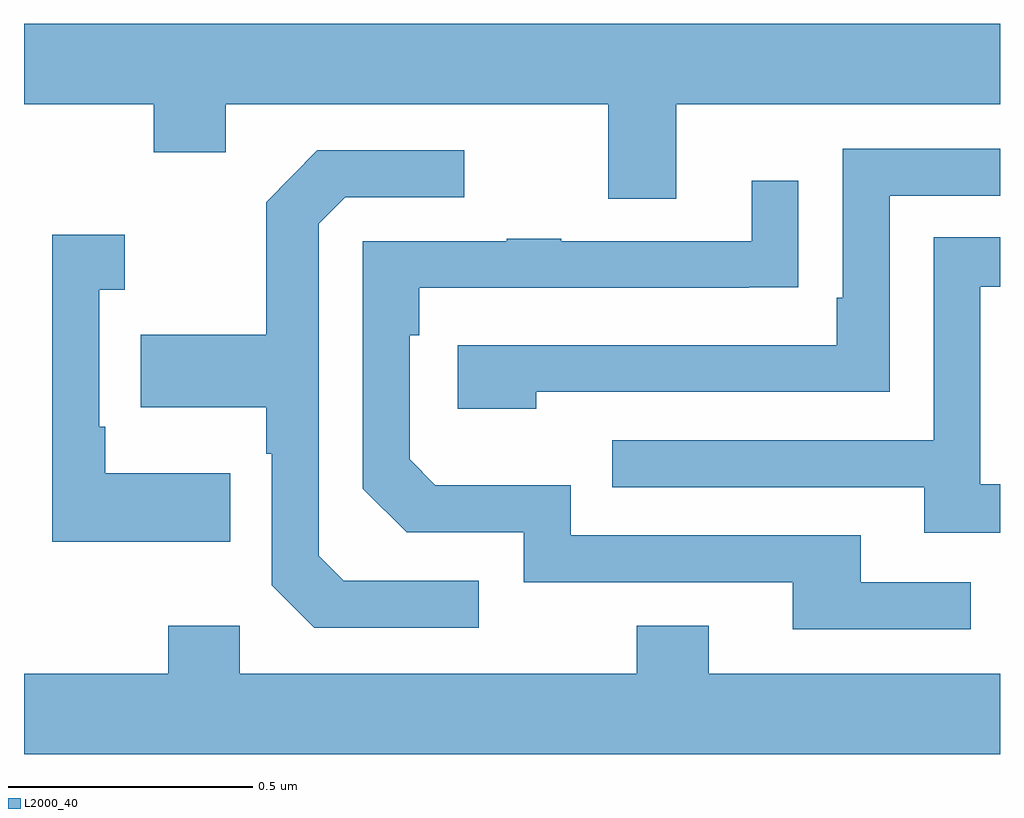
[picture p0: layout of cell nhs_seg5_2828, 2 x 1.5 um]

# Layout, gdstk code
import gdstk
lib = gdstk.Library(unit=1e-6, precision=1e-09)
def P(c, l, *ps):  # polygons
    for p in ps: c.add(gdstk.Polygon(p, *l))
L2000_40 = (2000, 40)

nhs_seg5_2828 = lib.new_cell('nhs_seg5_2828')
P(nhs_seg5_2828, L2000_40, [(150.337,863.42),(151,863.42),(151,863.584),(149,863.584),(149,863.42),(149.266,863.42),(149.266,863.321),(149.413,863.321),(149.413,863.42),(150.197,863.42),(150.197,863.226),(150.337,863.226)],
  [(150.05,862.83),(150.774,862.83),(150.774,863.232),(151,863.232),(151,863.328),(150.678,863.328),(150.678,863.023),(150.665,863.023),(150.665,862.926),(149.889,862.926),(149.889,862.796),(150.05,862.796)],
  [(149.932,862.443),(149.655,862.443),(149.604,862.494),(149.604,863.175),(149.658,863.229),(149.902,863.229),(149.902,863.325),(149.601,863.325),(149.496,863.219),(149.496,862.947),(149.239,862.947),(149.239,862.799),(149.496,862.799),(149.496,862.703),(149.508,862.703),(149.508,862.434),(149.595,862.347),(149.932,862.347)],
  [(150.94,862.44),(150.715,862.44),(150.715,862.536),(150.12,862.536),(150.12,862.639),(149.843,862.639),(149.79,862.692),(149.79,862.946),(149.81,862.946),(149.81,863.043),(150.485,863.043),(150.485,863.044),(150.587,863.044),(150.587,863.263),(150.491,863.263),(150.491,863.139),(150.101,863.139),(150.101,863.144),(149.989,863.144),(149.989,863.139),(149.694,863.139),(149.694,862.632),(149.784,862.542),(150.024,862.542),(150.024,862.44),(150.575,862.44),(150.575,862.344),(150.94,862.344)],
  [(149.423,862.663),(149.167,862.663),(149.167,862.759),(149.154,862.759),(149.154,863.039),(149.206,863.039),(149.206,863.152),(149.058,863.152),(149.058,862.523),(149.423,862.523)],
  [(151,862.641),(150.96,862.641),(150.96,863.046),(151,863.046),(151,863.147),(150.864,863.147),(150.864,862.731),(150.205,862.731),(150.205,862.635),(150.845,862.635),(150.845,862.541),(151,862.541)],
  [(151,862.252),(150.403,862.252),(150.403,862.351),(150.256,862.351),(150.256,862.252),(149.442,862.252),(149.442,862.351),(149.296,862.351),(149.296,862.252),(149,862.252),(149,862.088),(151,862.088)])

lib.write_gds('nhs_seg5_2828.gds')
